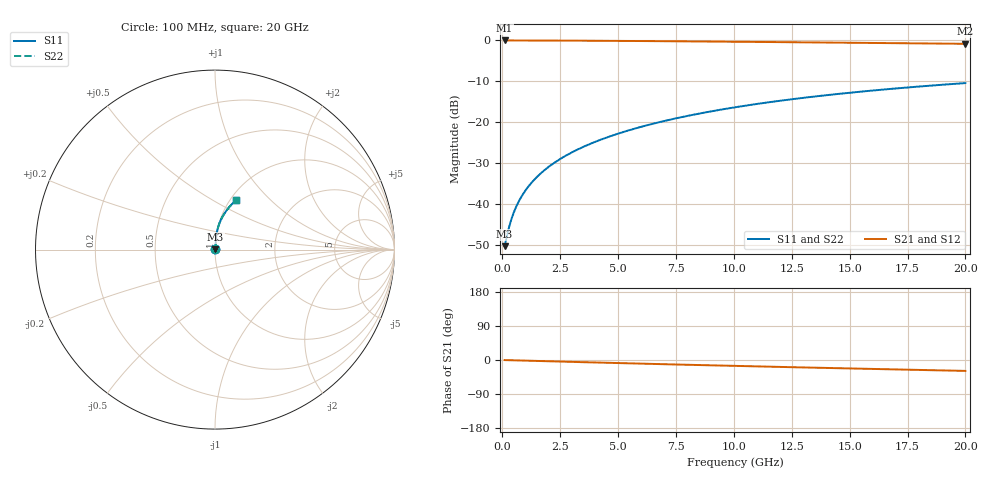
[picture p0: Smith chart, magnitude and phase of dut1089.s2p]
! Touchstone file exported from HFSS 2024.1.0
!  File:  C:/UserFiles/LocalFiles/RDL_TSV_Batchsim/temp_RDL_top_1089_1780045928.aedt
!  Generated:  05:14:10 PM May 29, 2026
!  Design:  RDL_top
!  Project:  temp_RDL_top_1089_1780045928
!  Setup:  Setup1
!  Solution:  Sweep
! Variables:
!  dtsv = 10.80580581um
!  hbump = 3um
!  htsv = 97.34um
!  ldown = 100um
!  lrdl = 363.66um
!  p = 40
!  p1 = 50.91um
!  rhole = 1um
!  t = 450um
!  tdown = 3.915915916um
!  trdl = 2.56um
!  wdown = 15.38538539um
!  wrdl = 21.14um
# GHz S MA R 50.000000
! Terminal data exported
! Port[1] = Box2_T1
! Port[2] = Box2_T2
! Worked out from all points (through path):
!   200 points, 100 MHz to 20 GHz, reference 50 ohm
!   highest |S21| = -0.02 dB at 100 MHz (marker M1); lowest = -0.8 dB at 20 GHz (marker M2)
!   group delay of S21, straight-line fit = 3.97 ps
!   lowest |S11| = -50.2 dB at 100 MHz (marker M3), VSWR 1.01, Z = 50.3 + j0.154 ohm
!   |S11| at or under -10 dB: start of sweep to end of sweep
!   |S22| runs from -50.2 to -10.4 dB; largest |S21 - S12| = 2.1e-15
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0.1  0.003073 30.0  0.9973 -0.2  0.9973 -0.2  0.003073 30.0
! Gamma 0 0 0 0
! Port Impedance 50 0 50 0
0.3  0.005333 58.1  0.9971 -0.5  0.9971 -0.5  0.005333 58.1
0.4  0.006645 63.9  0.997 -0.7  0.997 -0.7  0.006645 63.9
0.5  0.007978 67.8  0.9969 -0.9  0.9969 -0.9  0.007978 67.8
0.6  0.009317 70.6  0.9967 -1.0  0.9967 -1.0  0.009317 70.6
0.8  0.012 74.4  0.9965 -1.3  0.9965 -1.3  0.012 74.4
1.1  0.01607 77.9  0.9961 -1.8  0.9961 -1.8  0.01607 77.9
1.3  0.0188 79.4  0.9958 -2.2  0.9958 -2.2  0.0188 79.4
1.6  0.02295 81.1  0.9953 -2.7  0.9953 -2.7  0.02295 81.1
2.1  0.02995 82.8  0.9944 -3.5  0.9944 -3.5  0.02995 82.8
2.7  0.0385 84.0  0.993 -4.5  0.993 -4.5  0.0385 84.0
3.5  0.05014 84.7  0.9908 -5.7  0.9908 -5.7  0.05014 84.7
4.2  0.06054 84.9  0.9885 -6.9  0.9885 -6.9  0.06053 84.9
5  0.07265 84.8  0.9855 -8.1  0.9855 -8.1  0.07265 84.8
5.9  0.08653 84.4  0.9818 -9.5  0.9818 -9.5  0.08653 84.4
6.8  0.1006 83.7  0.9778 -10.8  0.9778 -10.8  0.1006 83.7
8.4  0.126 82.1  0.9702 -13.2  0.9702 -13.2  0.126 82.1
10.1  0.1531 80.1  0.9617 -15.6  0.9617 -15.6  0.1531 80.1
11.7  0.1785 78.0  0.9534 -17.9  0.9534 -17.9  0.1785 78.0
13.4  0.205 75.6  0.9443 -20.2  0.9443 -20.2  0.205 75.6
16.7  0.2545 71.1  0.9263 -24.6  0.9263 -24.6  0.2545 71.1
20  0.3009 66.6  0.9076 -28.8  0.9076 -28.8  0.3008 66.6
